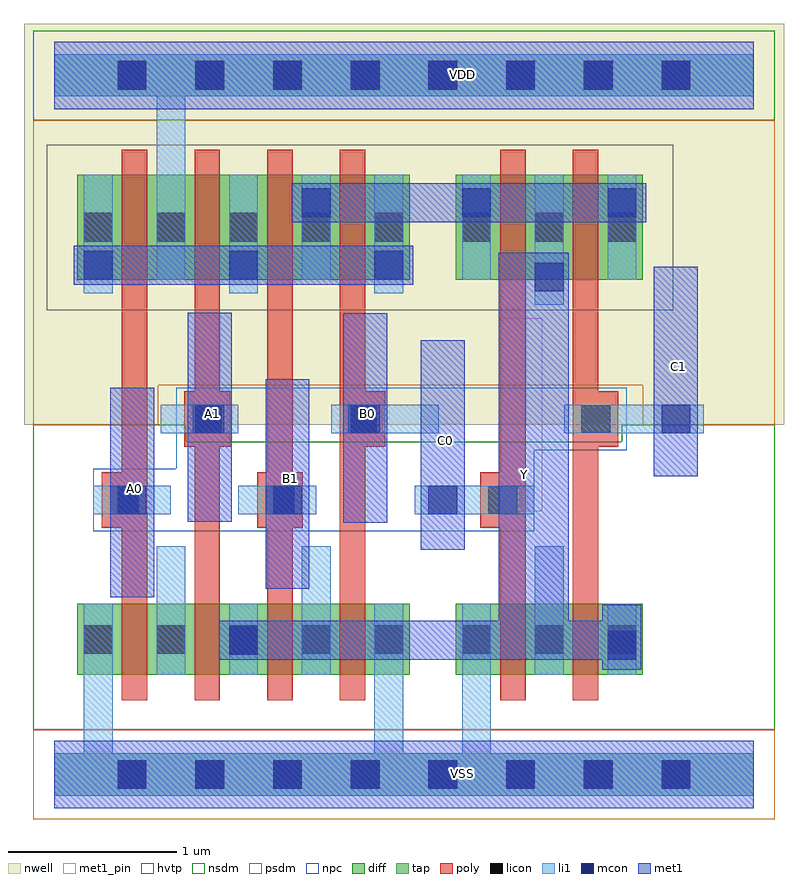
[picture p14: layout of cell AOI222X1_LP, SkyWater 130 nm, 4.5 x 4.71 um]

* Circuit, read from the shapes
.subckt AOI222X1_LP A0 A1 B0 B1 C0 C1 VDD VSS Y
XM1 n1 A0 VSS VSS sky130_fd_pr__nfet_01v8 w=0.42 l=0.15
XM2 Y A1 n1 VSS sky130_fd_pr__nfet_01v8 w=0.42 l=0.15
XM3 n2 B1 Y VSS sky130_fd_pr__nfet_01v8 w=0.42 l=0.15
XM4 VSS B0 n2 VSS sky130_fd_pr__nfet_01v8 w=0.42 l=0.15
XM5 n3 C0 VSS VSS sky130_fd_pr__nfet_01v8 w=0.42 l=0.15
XM6 Y C1 n3 VSS sky130_fd_pr__nfet_01v8 w=0.42 l=0.15
XM7 VDD A0 n4 VDD sky130_fd_pr__pfet_01v8_hvt w=0.62 l=0.15
XM8 n4 A1 VDD VDD sky130_fd_pr__pfet_01v8_hvt w=0.62 l=0.15
XM9 n5 B1 n4 VDD sky130_fd_pr__pfet_01v8_hvt w=0.62 l=0.15
XM10 n4 B0 n5 VDD sky130_fd_pr__pfet_01v8_hvt w=0.62 l=0.15
XM11 Y C0 n5 VDD sky130_fd_pr__pfet_01v8_hvt w=0.62 l=0.15
XM12 n5 C1 Y VDD sky130_fd_pr__pfet_01v8_hvt w=0.62 l=0.15
.ends

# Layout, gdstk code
import gdstk
lib = gdstk.Library(unit=1e-6, precision=1e-09)
def R(c, l, rs):  # rectangles x0, y0, x1, y1
    for r in rs: c.add(gdstk.rectangle(r[:2], r[2:], *l))
def A(c, l, x, y, w, h, nx, ny, dx, dy):  # array of equal rectangles
    R(c, l, [(x+i*dx, y+j*dy, x+i*dx+w, y+j*dy+h) for i in range(nx) for j in range(ny)])
def P(c, l, *ps):  # polygons
    for p in ps: c.add(gdstk.Polygon(p, *l))
nwell = (64, 20)
diff = (65, 20)
tap = (65, 44)
poly = (66, 20)
licon = (66, 44)
li1 = (67, 20)
mcon = (67, 44)
met1_pin = (68, 16)
met1 = (68, 20)
hvtp = (78, 44)
nsdm = (93, 44)
psdm = (94, 20)
npc = (95, 20)

l1m1_c_cdns_750721840971 = lib.new_cell('L1M1_C_CDNS_750721840971')
R(l1m1_c_cdns_750721840971, li1, [(-0.085,-0.165,0.085,0.165)])
R(l1m1_c_cdns_750721840971, mcon, [(-0.085,-0.085,0.085,0.085)])
R(l1m1_c_cdns_750721840971, met1, [(-0.115,-0.145,0.115,0.145)])

c_l1m1_c_cdns_750721840971 = lib.new_cell('L1M1_C_CDNS_7507218409710')
R(c_l1m1_c_cdns_750721840971, li1, [(-0.085,-0.165,0.085,0.165)])
R(c_l1m1_c_cdns_750721840971, mcon, [(-0.085,-0.085,0.085,0.085)])
R(c_l1m1_c_cdns_750721840971, met1, [(-0.145,-0.115,0.145,0.115)])

pyl1con_c_cdns_750721840 = lib.new_cell('PYL1CON_C_CDNS_750721840972')
R(pyl1con_c_cdns_750721840, poly, [(-0.135,-0.165,0.135,0.165)])
R(pyl1con_c_cdns_750721840, licon, [(-0.085,-0.085,0.085,0.085)])
R(pyl1con_c_cdns_750721840, npc, [(-0.185,-0.185,0.185,0.185)])

l1m1_c_cdns_750721840973 = lib.new_cell('L1M1_C_CDNS_750721840973')
R(l1m1_c_cdns_750721840973, li1, [(-0.165,-0.085,0.165,0.085)])
R(l1m1_c_cdns_750721840973, mcon, [(-0.085,-0.085,0.085,0.085)])
R(l1m1_c_cdns_750721840973, met1, [(-0.115,-0.145,0.115,0.145)])

c_l1m1_c_cdns_750721840971_ = lib.new_cell('L1M1_C_CDNS_7507218409711')
R(c_l1m1_c_cdns_750721840971_, li1, [(-0.085,-0.165,0.085,0.165)])
R(c_l1m1_c_cdns_750721840971_, mcon, [(-0.085,-0.085,0.085,0.085)])
R(c_l1m1_c_cdns_750721840971_, met1, [(-0.115,-0.085,0.115,0.085)])

aoi222x1_lp = lib.new_cell('AOI222X1_LP')
R(aoi222x1_lp, nwell, [(-0.18,2.07,4.32,4.305), (-0.045,2.75,0.785,3.73), (0.425,2.75,1.215,3.73), (0.855,2.75,1.645,3.73), (1.285,2.75,2.285,3.73), (2.195,2.75,3.195,3.73), (2.835,2.75,3.665,3.73), (-0.18,3.875,4.32,4.445)])
A(aoi222x1_lp, diff, 0.4, 0.59, 0.15, 0.42, 4, 1, 0.43, 0)
A(aoi222x1_lp, diff, 0.55, 0.59, 0.225, 0.42, 3, 1, 0.43, 0)
A(aoi222x1_lp, diff, 0.775, 0.59, 0.055, 0.42, 3, 1, 0.43, 0)
A(aoi222x1_lp, diff, 0.4, 2.93, 0.15, 0.62, 4, 1, 0.43, 0)
A(aoi222x1_lp, diff, 0.55, 2.93, 0.055, 0.62, 3, 1, 0.43, 0)
A(aoi222x1_lp, diff, 0.605, 2.93, 0.225, 0.62, 3, 1, 0.43, 0)
R(aoi222x1_lp, diff, [(0.135,0.59,0.4,1.01), (1.84,0.59,2.105,1.01), (2.375,0.59,2.64,1.01), (2.64,0.59,2.79,1.01), (2.79,0.59,2.845,1.01), (2.845,0.59,3.07,1.01), (3.07,0.59,3.22,1.01), (3.22,0.59,3.485,1.01), (0.135,2.93,0.4,3.55), (1.84,2.93,2.105,3.55), (2.375,2.93,2.64,3.55), (2.64,2.93,2.79,3.55), (2.79,2.93,3.015,3.55), (3.015,2.93,3.07,3.55), (3.07,2.93,3.22,3.55), (3.22,2.93,3.485,3.55)])
A(aoi222x1_lp, poly, 0.4, 0.44, 0.15, 0.055, 4, 2, 0.43, 0.665)
A(aoi222x1_lp, poly, 0.4, 0.495, 0.15, 0.095, 4, 2, 0.43, 0.515)
A(aoi222x1_lp, poly, 0.4, 0.59, 0.15, 0.42, 4, 1, 0.43, 0)
A(aoi222x1_lp, poly, 0.4, 2.78, 0.15, 0.055, 4, 2, 0.43, 0.865)
A(aoi222x1_lp, poly, 0.4, 2.835, 0.15, 0.095, 4, 2, 0.43, 0.715)
A(aoi222x1_lp, poly, 0.4, 2.93, 0.15, 0.62, 4, 1, 0.43, 0)
R(aoi222x1_lp, poly, [(2.64,0.44,2.79,0.495), (3.07,0.44,3.22,0.495), (2.64,0.495,2.79,0.59), (3.07,0.495,3.22,0.59), (2.64,0.59,2.79,1.01), (3.07,0.59,3.22,1.01), (2.64,1.01,2.79,1.105), (3.07,1.01,3.22,1.105), (2.64,1.105,2.79,1.16), (3.07,1.105,3.22,1.16), (2.64,2.78,2.79,2.835), (3.07,2.78,3.22,2.835), (2.64,2.835,2.79,2.93), (3.07,2.835,3.22,2.93), (2.64,2.93,2.79,3.55), (3.07,2.93,3.22,3.55), (2.64,3.55,2.79,3.645), (3.07,3.55,3.22,3.645), (2.64,3.645,2.79,3.7), (3.07,3.645,3.22,3.7)])
A(aoi222x1_lp, licon, 0.375, -0.085, 0.17, 0.17, 8, 2, 0.46, 4.14)
A(aoi222x1_lp, licon, 0.175, 0.715, 0.17, 0.17, 5, 2, 0.43, 2.44)
A(aoi222x1_lp, licon, 2.415, 0.715, 0.17, 0.17, 3, 2, 0.43, 2.44)
A(aoi222x1_lp, li1, 0.175, 0.59, 0.17, 0.42, 3, 1, 0.86, 0)
A(aoi222x1_lp, li1, 0.175, 2.93, 0.17, 0.62, 5, 1, 0.43, 0)
A(aoi222x1_lp, li1, 2.415, 2.93, 0.17, 0.62, 3, 1, 0.43, 0)
R(aoi222x1_lp, li1, [(0.605,0.59,0.775,1.35), (1.465,0.59,1.635,1.35), (2.415,0.59,2.585,1.01), (2.845,0.59,3.015,1.35), (3.275,0.59,3.445,1.01)])
A(aoi222x1_lp, mcon, 0.375, -0.085, 0.17, 0.17, 8, 2, 0.46, 4.14)
R(aoi222x1_lp, met1_pin, [(0.33,1.05,0.59,2.29), (1.25,1.1,1.51,2.34), (2.17,1.33,2.43,2.57), (1.71,1.49,1.97,2.73), (0.79,1.495,1.05,2.735), (2.63,1.56,2.89,2.7), (3.55,1.765,3.81,3.005)])
R(aoi222x1_lp, met1, [(2.63,0.68,3.045,3.09)])
R(aoi222x1_lp, hvtp, [(-0.045,2.75,0.785,3.73), (0.425,2.75,1.215,3.73), (0.855,2.75,1.645,3.73), (1.285,2.75,2.285,3.73), (2.195,2.75,3.195,3.73), (2.835,2.75,3.665,3.73)])
R(aoi222x1_lp, nsdm, [(-0.005,0.46,0.785,1.14), (0.765,0.46,1.215,1.14), (1.195,0.46,1.645,1.14), (1.625,0.46,2.245,1.14), (2.235,0.46,2.855,1.14), (2.835,0.46,3.625,1.14), (-0.125,3.875,4.265,4.405), (-0.125,3.93,4.265,4.35)])
P(aoi222x1_lp, nsdm, [(4.265,2.07),(3.36,2.07),(3.36,1.97),(0.78,1.97),(0.78,2.07),(-0.125,2.07),(-0.125,0.265),(4.265,0.265)])
R(aoi222x1_lp, psdm, [(-0.125,-0.265,4.265,0.265), (-0.125,-0.21,4.265,0.21), (-0.005,2.8,0.615,3.68), (0.595,2.8,1.045,3.68), (1.025,2.8,1.475,3.68), (1.455,2.8,2.245,3.68), (2.235,2.8,3.025,3.68), (3.005,2.8,3.625,3.68)])
P(aoi222x1_lp, psdm, [(4.265,3.875),(-0.125,3.875),(-0.125,2.07),(0.615,2.07),(0.615,2.305),(3.485,2.305),(3.485,2.07),(4.265,2.07)])
P(aoi222x1_lp, npc, [(3.39,2.29),(0.72,2.29),(0.72,1.81),(0.23,1.81),(0.23,1.44),(2.84,1.44),(2.84,1.92),(3.39,1.92)])
aoi222x1_lp.add(gdstk.FlexPath([(0.69,0),(2.47,0)], 0.25, ends=(0.085, 0.085), simple_path=True, layer=67, datatype=20))  # li1
aoi222x1_lp.add(gdstk.FlexPath([(4.055,0),(4.14,0)], 0.25, ends=(0.085, 0), simple_path=True, layer=67, datatype=20))  # li1
aoi222x1_lp.add(gdstk.FlexPath([(3.42,0),(4.055,0)], 0.25, ends=(0.085, 0.085), simple_path=True, layer=67, datatype=20))  # li1
aoi222x1_lp.add(gdstk.FlexPath([(0,0),(0.69,0)], 0.25, ends=(0, 0.085), simple_path=True, layer=67, datatype=20))  # li1
aoi222x1_lp.add(gdstk.FlexPath([(2.47,0),(3.42,0)], 0.25, ends=(0.085, 0.085), simple_path=True, layer=67, datatype=20))  # li1
aoi222x1_lp.add(gdstk.FlexPath([(1.98,0.59),(1.98,0.005)], 0.17, ends="flush", simple_path=True, layer=67, datatype=20))  # li1
aoi222x1_lp.add(gdstk.FlexPath([(0,4.14),(0.69,4.14)], 0.25, ends=(0, 0.085), simple_path=True, layer=67, datatype=20))  # li1
aoi222x1_lp.add(gdstk.FlexPath([(2.47,4.14),(3.42,4.14)], 0.25, ends=(0.085, 0.085), simple_path=True, layer=67, datatype=20))  # li1
aoi222x1_lp.add(gdstk.FlexPath([(3.42,4.14),(4.055,4.14)], 0.25, ends=(0.085, 0.085), simple_path=True, layer=67, datatype=20))  # li1
aoi222x1_lp.add(gdstk.FlexPath([(4.055,4.14),(4.14,4.14)], 0.25, ends=(0.085, 0), simple_path=True, layer=67, datatype=20))  # li1
aoi222x1_lp.add(gdstk.FlexPath([(0.69,4.14),(2.47,4.14)], 0.25, ends=(0.085, 0.085), simple_path=True, layer=67, datatype=20))  # li1
aoi222x1_lp.add(gdstk.FlexPath([(0.26,0.59),(0.26,0.015)], 0.17, ends="flush", simple_path=True, layer=67, datatype=20))  # li1
aoi222x1_lp.add(gdstk.FlexPath([(3.68,2.105),(3.48,2.105)], 0.17, ends="flush", simple_path=True, layer=67, datatype=20))  # li1
aoi222x1_lp.add(gdstk.FlexPath([(0.69,3.55),(0.69,4.14)], 0.17, ends="flush", simple_path=True, layer=67, datatype=20))  # li1
aoi222x1_lp.add(gdstk.FlexPath([(3.48,2.105),(3.02,2.105)], 0.17, ends="flush", simple_path=True, layer=67, datatype=20))  # li1
aoi222x1_lp.add(gdstk.FlexPath([(0.63,2.105),(1.09,2.105)], 0.17, ends="flush", simple_path=True, layer=67, datatype=20))  # li1
aoi222x1_lp.add(gdstk.FlexPath([(2.275,2.105),(1.64,2.105)], 0.17, ends="flush", simple_path=True, layer=67, datatype=20))  # li1
aoi222x1_lp.add(gdstk.FlexPath([(0.69,1.625),(0.23,1.625)], 0.17, ends="flush", simple_path=True, layer=67, datatype=20))  # li1
aoi222x1_lp.add(gdstk.FlexPath([(2.38,1.625),(2.84,1.625)], 0.17, ends="flush", simple_path=True, layer=67, datatype=20))  # li1
aoi222x1_lp.add(gdstk.FlexPath([(1.55,1.625),(1.09,1.625)], 0.17, ends="flush", simple_path=True, layer=67, datatype=20))  # li1
aoi222x1_lp.add(gdstk.FlexPath([(2.5,0.59),(2.5,0)], 0.17, ends=(0, 0.085), simple_path=True, layer=67, datatype=20))  # li1
aoi222x1_lp.add(gdstk.FlexPath([(2.5,0),(2.47,0)], 0.17, ends=(0.085, 0), simple_path=True, layer=67, datatype=20))  # li1
aoi222x1_lp.add(gdstk.FlexPath([(1.335,1.625),(1.335,2.78)], 0.15, ends="flush", simple_path=True, layer=66, datatype=20))  # poly
aoi222x1_lp.add(gdstk.FlexPath([(0.905,2.78),(0.905,2.105)], 0.15, ends="flush", simple_path=True, layer=66, datatype=20))  # poly
aoi222x1_lp.add(gdstk.FlexPath([(3.145,2.78),(3.145,1.16)], 0.15, ends="flush", simple_path=True, layer=66, datatype=20))  # poly
aoi222x1_lp.add(gdstk.FlexPath([(2.715,2.78),(2.715,1.16)], 0.15, ends="flush", simple_path=True, layer=66, datatype=20))  # poly
aoi222x1_lp.add(gdstk.FlexPath([(1.765,2.78),(1.765,1.16)], 0.15, ends="flush", simple_path=True, layer=66, datatype=20))  # poly
aoi222x1_lp.add(gdstk.FlexPath([(1.335,1.625),(1.335,1.16)], 0.15, ends="flush", simple_path=True, layer=66, datatype=20))  # poly
aoi222x1_lp.add(gdstk.FlexPath([(0.905,2.105),(0.905,1.16)], 0.15, ends="flush", simple_path=True, layer=66, datatype=20))  # poly
aoi222x1_lp.add(gdstk.FlexPath([(0.475,2.78),(0.475,1.16)], 0.15, ends="flush", simple_path=True, layer=66, datatype=20))  # poly
aoi222x1_lp.add(gdstk.FlexPath([(0,4.14),(4.14,4.14)], 0.4, ends="flush", simple_path=True, layer=68, datatype=20))  # met1
aoi222x1_lp.add(gdstk.FlexPath([(2.76,2.72),(2.76,0.825)], 0.26, ends=(0, 0.145), simple_path=True, layer=68, datatype=20))  # met1
aoi222x1_lp.add(gdstk.FlexPath([(0,0),(4.14,0)], 0.4, ends="flush", simple_path=True, layer=68, datatype=20))  # met1
aoi222x1_lp.add(gdstk.FlexPath([(3.68,3.005),(3.68,1.765)], 0.26, ends="flush", simple_path=True, layer=68, datatype=20))  # met1
aoi222x1_lp.add(gdstk.FlexPath([(1.84,2.73),(1.84,1.49)], 0.26, ends="flush", simple_path=True, layer=68, datatype=20))  # met1
aoi222x1_lp.add(gdstk.FlexPath([(2.3,2.57),(2.3,1.33)], 0.26, ends="flush", simple_path=True, layer=68, datatype=20))  # met1
aoi222x1_lp.add(gdstk.FlexPath([(0.46,2.29),(0.46,1.05)], 0.26, ends="flush", simple_path=True, layer=68, datatype=20))  # met1
aoi222x1_lp.add(gdstk.FlexPath([(1.38,2.34),(1.38,1.1)], 0.26, ends="flush", simple_path=True, layer=68, datatype=20))  # met1
aoi222x1_lp.add(gdstk.FlexPath([(0.975,0.795),(3.36,0.795)], 0.23, ends=(0, 0.115), simple_path=True, layer=68, datatype=20))  # met1
aoi222x1_lp.add(gdstk.FlexPath([(3.36,0.795),(3.36,1.005)], 0.23, ends=(0.115, 0), simple_path=True, layer=68, datatype=20))  # met1
aoi222x1_lp.add(gdstk.FlexPath([(2.125,3.015),(0.26,3.015)], 0.23, ends="flush", simple_path=True, layer=68, datatype=20))  # met1
aoi222x1_lp.add(gdstk.FlexPath([(3.36,3.385),(1.55,3.385)], 0.23, ends="flush", simple_path=True, layer=68, datatype=20))  # met1
aoi222x1_lp.add(gdstk.FlexPath([(2.76,0.825),(2.76,0.7)], 0.26, ends=(0.145, 0), simple_path=True, layer=68, datatype=20))  # met1
aoi222x1_lp.add(gdstk.FlexPath([(0.92,2.735),(0.92,1.495)], 0.26, ends="flush", simple_path=True, layer=68, datatype=20))  # met1
aoi222x1_lp.add(gdstk.FlexPath([(0,0),(4.14,0)], 0.25, ends="flush", simple_path=True, layer=65, datatype=44))  # tap
aoi222x1_lp.add(gdstk.FlexPath([(0,4.14),(4.14,4.14)], 0.25, ends="flush", simple_path=True, layer=65, datatype=44))  # tap
aoi222x1_lp.add(gdstk.FlexPath([(0,4.14),(4.14,4.14)], 0.4, ends="flush", simple_path=True, layer=68, datatype=16))  # met1_pin
aoi222x1_lp.add(gdstk.FlexPath([(0,0),(4.14,0)], 0.4, ends="flush", simple_path=True, layer=68, datatype=16))  # met1_pin
aoi222x1_lp.add(gdstk.Reference(l1m1_c_cdns_750721840971, (3.36,0.765)))
aoi222x1_lp.add(gdstk.Reference(l1m1_c_cdns_750721840971, (2.93,2.945)))
aoi222x1_lp.add(gdstk.Reference(c_l1m1_c_cdns_750721840971, (1.98,3.015)))
aoi222x1_lp.add(gdstk.Reference(c_l1m1_c_cdns_750721840971, (0.26,3.015)))
aoi222x1_lp.add(gdstk.Reference(c_l1m1_c_cdns_750721840971, (1.12,3.015)))
aoi222x1_lp.add(gdstk.Reference(c_l1m1_c_cdns_750721840971, (1.55,3.385)))
aoi222x1_lp.add(gdstk.Reference(c_l1m1_c_cdns_750721840971, (2.5,3.385)))
aoi222x1_lp.add(gdstk.Reference(c_l1m1_c_cdns_750721840971, (3.36,3.385)))
aoi222x1_lp.add(gdstk.Reference(pyl1con_c_cdns_750721840, (0.905,2.105)))
aoi222x1_lp.add(gdstk.Reference(pyl1con_c_cdns_750721840, (0.415,1.625)))
aoi222x1_lp.add(gdstk.Reference(pyl1con_c_cdns_750721840, (1.335,1.625)))
aoi222x1_lp.add(gdstk.Reference(pyl1con_c_cdns_750721840, (1.825,2.105)))
aoi222x1_lp.add(gdstk.Reference(pyl1con_c_cdns_750721840, (2.655,1.625)))
aoi222x1_lp.add(gdstk.Reference(pyl1con_c_cdns_750721840, (3.205,2.105)))
aoi222x1_lp.add(gdstk.Reference(l1m1_c_cdns_750721840973, (3.68,2.105)))
aoi222x1_lp.add(gdstk.Reference(l1m1_c_cdns_750721840973, (1.84,2.105)))
aoi222x1_lp.add(gdstk.Reference(l1m1_c_cdns_750721840973, (0.92,2.105)))
aoi222x1_lp.add(gdstk.Reference(l1m1_c_cdns_750721840973, (2.3,1.625)))
aoi222x1_lp.add(gdstk.Reference(l1m1_c_cdns_750721840973, (1.38,1.625)))
aoi222x1_lp.add(gdstk.Reference(l1m1_c_cdns_750721840973, (0.46,1.625)))
aoi222x1_lp.add(gdstk.Reference(c_l1m1_c_cdns_750721840971_, (1.12,0.795)))
aoi222x1_lp.add(gdstk.Label('VDD', (2.415,4.145), layer=68, texttype=5))
aoi222x1_lp.add(gdstk.Label('Y', (2.785,1.775), layer=68, texttype=5))
aoi222x1_lp.add(gdstk.Label('C1', (3.695,2.415), layer=68, texttype=5))
aoi222x1_lp.add(gdstk.Label('B0', (1.855,2.135), layer=68, texttype=5))
aoi222x1_lp.add(gdstk.Label('B1', (1.395,1.75), layer=68, texttype=5))
aoi222x1_lp.add(gdstk.Label('C0', (2.315,1.975), layer=68, texttype=5))
aoi222x1_lp.add(gdstk.Label('A1', (0.935,2.14), layer=68, texttype=5))
aoi222x1_lp.add(gdstk.Label('A0', (0.475,1.695), layer=68, texttype=5))
aoi222x1_lp.add(gdstk.Label('VSS', (2.415,0.005), layer=68, texttype=5))

lib.write_gds('AOI222X1_LP.gds')
